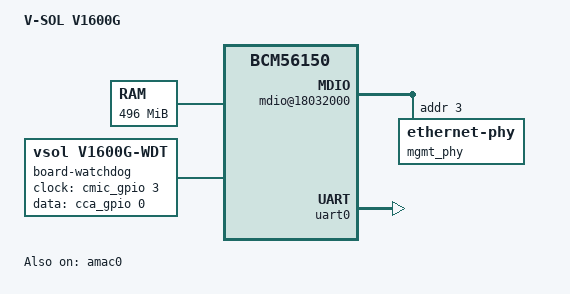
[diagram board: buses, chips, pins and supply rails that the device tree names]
// SPDX-License-Identifier: GPL-2.0-or-later OR MIT
/*
 * V-SOL V1600G GPON OLT: Broadcom Hurricane2 BCM56150 host, 512 MiB DDR3 at 0x60000000.
 * Facts from its stock 1.9.7R: U-Boot "DRAM: 512 MiB", kernel "mem=496M", console = the UART at 0x18000300.
 */
/dts-v1/;

#include <dt-bindings/gpio/gpio.h>
#include "bcm-hr2.dtsi"

/ {
	compatible = "vsol,v1600g", "brcm,bcm56150", "brcm,hr2";
	model = "V-SOL V1600G";

	aliases {
		serial0 = &uart0;
	};

	chosen {
		bootargs = "earlycon";
		stdout-path = "serial0:115200n8";
	};

	memory@60000000 {
		device_type = "memory";
		reg = <0x60000000 0x1f000000>;
	};

	/* ChipcommonA GPIO: the stock kernel's lines 4-15; its interrupt is ChipcommonA's, shared with the UARTs */
	cca_gpio: gpio@18000060 {
		compatible = "brcm,iproc-gpio-cca";
		reg = <0x18000060 0x50>, <0x18000000 0x50>;
		gpio-controller;
		#gpio-cells = <2>;
		ngpios = <12>;
		interrupt-controller;
		#interrupt-cells = <2>;
		interrupts = <GIC_SPI 91 IRQ_TYPE_LEVEL_HIGH>;
	};

	/* the switch core's CMICd GPIO, the stock kernel's lines 0-3: input, output and output-enable words, no IRQ */
	cmic_gpio: gpio@48002000 {
		compatible = "brcm,bcm6345-gpio";
		reg = <0x48002000 4>, <0x48002004 4>, <0x48002008 4>;
		reg-names = "dat", "set", "dirout";
		gpio-controller;
		#gpio-cells = <2>;
	};

	/* ChipcommonB MII management, external pins: the management RJ45's PHY at address 3 (ID 0x001cc816, RTL8201F) */
	mdio@18032000 {
		compatible = "brcm,iproc-mdio";
		reg = <0x18032000 0x8>;
		brcm,external-bus;
		#address-cells = <1>;
		#size-cells = <0>;

		mgmt_phy: ethernet-phy@3 {
			reg = <3>;
		};
	};

	/* resets the board about 11 min after power-on unless fed (stock: userWtd through vs_gpio_cfg lines 3 and 4) */
	board-watchdog {
		compatible = "vsol,v1600g-wdt";
		clock-gpios = <&cmic_gpio 3 GPIO_ACTIVE_HIGH>;
		data-gpios = <&cca_gpio 0 GPIO_ACTIVE_HIGH>;
	};
};

/* the management RJ45 (U-Boot's GMAC0) */
&amac0 {
	phy-handle = <&mgmt_phy>;
	phy-mode = "mii";
	status = "okay";
};

/* the UART runs on the 100 MHz APB clock: the unit's U-Boot divisor is 54 at 115200 */
&uart0 {
	clock-frequency = <100000000>;
	status = "okay";
};
